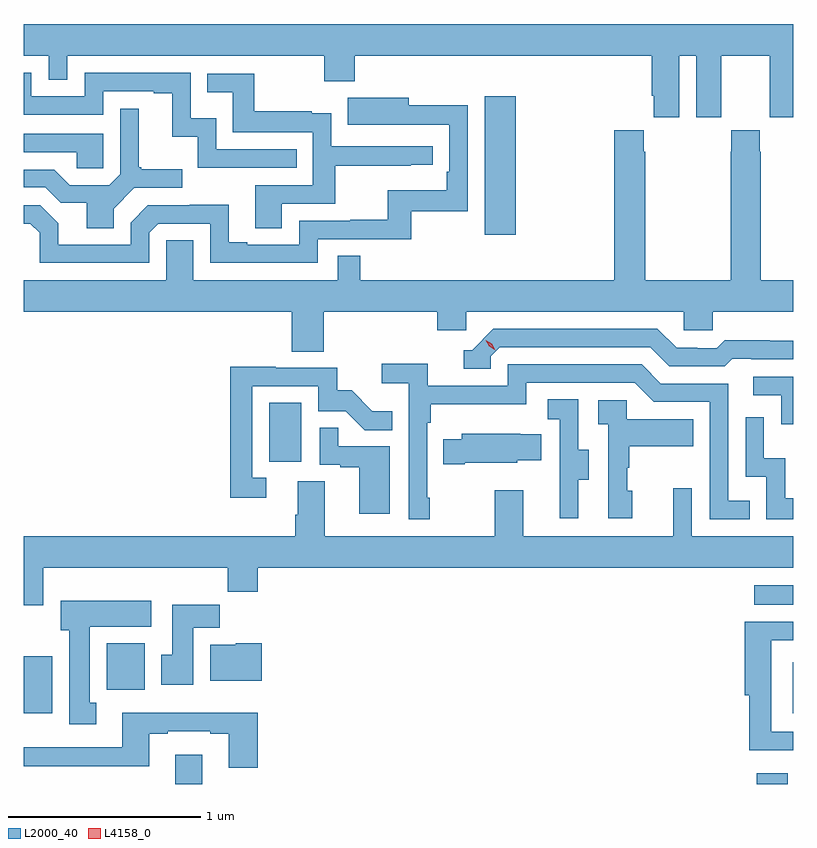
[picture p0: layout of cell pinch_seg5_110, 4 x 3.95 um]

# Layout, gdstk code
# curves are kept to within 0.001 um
import gdstk
lib = gdstk.Library(unit=1e-6, precision=1e-09)
def R(c, l, rs):  # rectangles x0, y0, x1, y1
    for r in rs: c.add(gdstk.rectangle(r[:2], r[2:], *l))
def P(c, l, *ps):  # polygons
    for p in ps: c.add(gdstk.Polygon(p, *l))
L2000_40 = (2000, 40)
L4158_0 = (4158, 0)

pinch_seg5_110 = lib.new_cell('pinch_seg5_110')
R(pinch_seg5_110, L2000_40, [(1033.739,876.947,1033.879,877.099), (1036.763,876.947,1036.923,877.003), (1032.951,877.316,1033.099,877.612), (1036.949,877.316,1036.951,877.579), (1033.382,877.436,1033.579,877.678), (1036.749,877.88,1036.951,877.981), (1034.228,878.622,1034.392,878.929), (1035.347,879.804,1035.508,880.525)])
P(pinch_seg5_110, L2000_40, [(1036.36,880.736),(1036.448,880.736),(1036.448,880.416),(1036.578,880.416),(1036.578,880.528),(1036.579,880.528),(1036.579,880.736),(1036.829,880.736),(1036.829,880.528),(1036.83,880.528),(1036.83,880.416),(1036.951,880.416),(1036.951,880.9),(1032.951,880.9),(1032.951,880.736),(1033.08,880.736),(1033.08,880.609),(1033.176,880.609),(1033.176,880.736),(1034.512,880.736),(1034.512,880.601),(1034.672,880.601),(1034.672,880.736),(1036.217,880.736),(1036.217,880.528),(1036.226,880.528),(1036.226,880.416),(1036.36,880.416)],
  [(1034.369,880.248),(1033.95,880.248),(1033.95,880.411),(1033.818,880.411),(1033.818,880.647),(1033.266,880.647),(1033.266,880.524),(1032.99,880.524),(1032.99,880.647),(1032.951,880.647),(1032.951,880.428),(1033.362,880.428),(1033.362,880.551),(1033.625,880.551),(1033.625,880.539),(1033.721,880.539),(1033.721,880.313),(1033.854,880.313),(1033.854,880.152),(1034.369,880.152)],
  [(1034.293,879.966),(1034.57,879.966),(1034.57,880.162),(1034.963,880.162),(1034.963,880.167),(1035.076,880.167),(1035.076,880.263),(1034.55,880.263),(1034.55,880.435),(1034.447,880.435),(1034.447,880.447),(1034.149,880.447),(1034.149,880.641),(1033.903,880.641),(1033.903,880.544),(1034.038,880.544),(1034.038,880.338),(1034.454,880.338),(1034.454,880.062),(1034.153,880.062),(1034.153,879.838),(1034.293,879.838)],
  [(1033.602,879.813),(1033.65,879.861),(1033.92,879.861),(1033.92,879.657),(1034.478,879.657),(1034.478,879.78),(1034.965,879.78),(1034.965,879.927),(1035.258,879.927),(1035.258,880.478),(1034.953,880.478),(1034.953,880.516),(1034.635,880.516),(1034.635,880.376),(1035.162,880.377),(1035.162,880.132),(1035.149,880.132),(1035.149,880.036),(1034.844,880.036),(1034.844,879.881),(1034.647,879.881),(1034.647,879.876),(1034.382,879.876),(1034.382,879.753),(1034.113,879.753),(1034.113,879.766),(1034.017,879.766),(1034.017,879.959),(1033.812,879.959),(1033.812,879.957),(1033.596,879.957),(1033.506,879.867),(1033.506,879.753),(1033.129,879.753),(1033.129,879.863),(1033.035,879.957),(1032.951,879.957),(1032.951,879.861),(1032.984,879.861),(1033.032,879.813),(1033.032,879.657),(1033.602,879.657)],
  [(1033.417,879.94),(1033.524,880.047),(1033.774,880.047),(1033.774,880.144),(1033.561,880.144),(1033.561,880.156),(1033.549,880.156),(1033.549,880.459),(1033.452,880.459),(1033.452,880.119),(1033.395,880.062),(1033.189,880.062),(1033.108,880.143),(1032.951,880.143),(1032.951,880.05),(1033.062,880.05),(1033.142,879.97),(1033.277,879.97),(1033.277,879.838),(1033.417,879.838)],
  [(1034.51,879.404),(1035.101,879.404),(1035.101,879.306),(1035.252,879.306),(1035.252,879.404),(1036.383,879.404),(1036.383,879.306),(1036.533,879.306),(1036.533,879.404),(1036.951,879.404),(1036.951,879.568),(1036.782,879.568),(1036.782,880.235),(1036.779,880.235),(1036.779,880.348),(1036.629,880.348),(1036.629,880.235),(1036.627,880.235),(1036.627,879.568),(1036.182,879.568),(1036.182,880.235),(1036.175,880.235),(1036.175,880.348),(1036.022,880.348),(1036.022,879.568),(1034.699,879.568),(1034.699,879.695),(1034.583,879.695),(1034.583,879.568),(1033.831,879.568),(1033.831,879.776),(1033.692,879.776),(1033.692,879.568),(1032.951,879.568),(1032.951,879.404),(1034.345,879.404),(1034.345,879.196),(1034.51,879.196)],
  [(1033.362,880.329),(1032.951,880.329),(1032.951,880.233),(1033.225,880.233),(1033.225,880.149),(1033.362,880.149)],
  [(1035.378,879.171),(1035.426,879.219),(1036.209,879.219),(1036.308,879.12),(1036.597,879.12),(1036.636,879.159),(1036.735,879.159),(1036.735,879.156),(1036.951,879.156),(1036.951,879.253),(1036.83,879.253),(1036.83,879.256),(1036.597,879.256),(1036.555,879.213),(1036.452,879.213),(1036.452,879.216),(1036.345,879.216),(1036.246,879.315),(1035.393,879.315),(1035.282,879.204),(1035.239,879.204),(1035.239,879.108),(1035.378,879.108)],
  [(1035.061,878.437),(1035.048,878.437),(1035.048,878.825),(1035.068,878.825),(1035.068,878.921),(1035.564,878.921),(1035.564,879.033),(1036.128,879.033),(1036.227,878.934),(1036.518,878.934),(1036.518,878.325),(1036.727,878.325),(1036.727,878.421),(1036.614,878.421),(1036.614,879.03),(1036.264,879.03),(1036.165,879.129),(1035.468,879.129),(1035.468,879.018),(1035.05,879.018),(1035.05,879.134),(1034.811,879.134),(1034.811,879.032),(1034.952,879.032),(1034.952,878.325),(1035.061,878.325)],
  [(1034.212,878.541),(1034.139,878.541),(1034.139,879.015),(1034.481,879.015),(1034.481,878.886),(1034.625,878.886),(1034.723,878.788),(1034.867,878.788),(1034.867,878.887),(1034.763,878.887),(1034.656,878.994),(1034.58,878.994),(1034.58,879.111),(1034.261,879.111),(1034.261,879.116),(1034.023,879.116),(1034.023,878.436),(1034.212,878.436)],
  [(1036.951,879.066),(1036.743,879.066),(1036.743,878.97),(1036.89,878.97),(1036.89,878.817),(1036.951,878.817)],
  [(1035.835,878.53),(1035.889,878.53),(1035.889,878.685),(1035.834,878.685),(1035.834,878.948),(1035.675,878.948),(1035.675,878.845),(1035.738,878.845),(1035.738,878.541),(1035.737,878.541),(1035.737,878.328),(1035.835,878.328)],
  [(1036.114,878.472),(1036.089,878.472),(1036.089,878.591),(1036.099,878.591),(1036.099,878.705),(1036.433,878.705),(1036.433,878.845),(1036.086,878.845),(1036.086,878.943),(1035.939,878.943),(1035.939,878.819),(1035.99,878.819),(1035.99,878.328),(1036.114,878.328)],
  [(1036.951,878.434),(1036.91,878.434),(1036.91,878.642),(1036.8,878.642),(1036.8,878.854),(1036.704,878.854),(1036.704,878.544),(1036.812,878.544),(1036.812,878.325),(1036.951,878.325)],
  [(1034.854,878.703),(1034.585,878.703),(1034.585,878.801),(1034.49,878.801),(1034.49,878.607),(1034.597,878.607),(1034.597,878.595),(1034.696,878.595),(1034.696,878.352),(1034.854,878.352)],
  [(1035.244,878.618),(1035.516,878.618),(1035.516,878.63),(1035.641,878.63),(1035.641,878.767),(1035.533,878.767),(1035.533,878.77),(1035.227,878.77),(1035.227,878.74),(1035.133,878.74),(1035.133,878.611),(1035.244,878.611)],
  [(1033.051,878.072),(1034.011,878.072),(1034.011,877.948),(1034.168,877.948),(1034.168,878.072),(1036.951,878.072),(1036.951,878.236),(1036.425,878.236),(1036.425,878.485),(1036.328,878.485),(1036.328,878.236),(1035.547,878.236),(1035.547,878.476),(1035.4,878.476),(1035.4,878.236),(1034.515,878.236),(1034.515,878.522),(1034.375,878.522),(1034.375,878.348),(1034.363,878.348),(1034.363,878.236),(1032.951,878.236),(1032.951,877.878),(1033.051,877.878)],
  [(1033.327,877.37),(1033.294,877.37),(1033.294,877.766),(1033.612,877.766),(1033.612,877.9),(1033.142,877.9),(1033.142,877.746),(1033.187,877.746),(1033.187,877.257),(1033.327,877.257)],
  [(1033.831,877.76),(1033.97,877.76),(1033.97,877.879),(1033.721,877.879),(1033.721,877.62),(1033.664,877.62),(1033.664,877.464),(1033.831,877.464)],
  [(1036.951,877.218),(1036.839,877.218),(1036.839,877.695),(1036.951,877.695),(1036.951,877.791),(1036.7,877.791),(1036.7,877.409),(1036.723,877.409),(1036.723,877.122),(1036.951,877.122)],
  [(1034.188,877.678),(1034.052,877.678),(1034.052,877.672),(1033.919,877.672),(1033.919,877.484),(1034.188,877.484)],
  [(1034.168,877.318),(1033.463,877.318),(1033.463,877.137),(1032.951,877.137),(1032.951,877.04),(1033.603,877.04),(1033.603,877.209),(1033.699,877.209),(1033.699,877.221),(1033.919,877.221),(1033.919,877.209),(1034.015,877.209),(1034.015,877.032),(1034.168,877.032)])
P(pinch_seg5_110, L4158_0, [(1035.401,879.204),(1035.37,879.224),(1035.354,879.256),(1035.354,879.256),(1035.354,879.256),(1035.385,879.237),(1035.401,879.204),(1035.401,879.204)])

lib.write_gds('pinch_seg5_110.gds')
